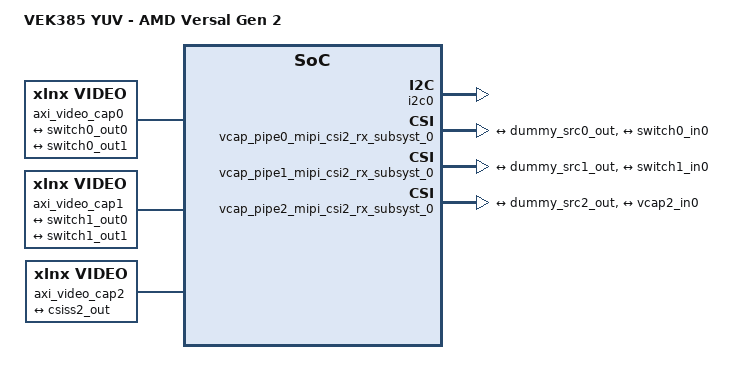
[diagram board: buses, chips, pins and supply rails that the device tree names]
// Copyright © Advanced Micro Devices, Inc., or its affiliates. All rights reserved.
// SPDX-License-Identifier: MIT
// Contributors: LT, KC
// Maintainer: LT
/ {
    model = "VEK385 YUV - AMD Versal Gen 2";
	compatible = "amd,versal2";

	chosen {
		stdout-path = "serial0:115200n8";
		bootargs = "earlycon=pl011,mmio32,0xf1930000 console=ttyAMA0,115200 cma=1000M";
		xen_bootargs = "console=dtuart dtuart=serial1 dom0_mem=2500M dom0_max_vcpus=1 bootscrub=0 vwfi=native";
		dom0_bootargs = "console=hvc0 earlycon=xen earlyprintk=xen clk_ignore_unused cma=1000M";
	};

	/delete-node/ vcap_vcap_pipe2_mipi_csi2_rx_subsyst_0;
	/delete-node/ vcap_display_v_proc_ss_scale;
	/delete-node/ vcap_portsdisplay_v_proc_ss_scale;
	/delete-node/ vcap_portdisplay_v_proc_ss_scale;
	/delete-node/ display_v_frmbuf_wr_0display_v_proc_ss_scale;
	/delete-node/ display_v_proc_ss_csc;
	/delete-node/ display_v_proc_ss_csc_csc;
	/delete-node/ ml_pre_process_pipe0_v_proc_ss_csc_csc;
	/delete-node/ ml_pre_process_pipe1_v_proc_ss_csc_csc;
	/delete-node/ scaler_portsdisplay_v_proc_ss_scale;
	
	
	reserved-memory {
		#address-cells = <0x2>;
		#size-cells = <0x2>;
		ranges;

		/delete-node/ cma_reserved@800000000;
		// Used to reserve memory for VCU
		shared_dma_reserved: shared_dma_mem_region {
			compatible = "shared-dma-pool";
			reg = <0x8 0x0 0x1 0x40000000>;
			//linux,cma-default;
			reusable;
		};

		//npu_dma_reserved: npup_dma_mem_region {
		//	compatible = "shared-dma-pool";
		//	size = <0x0 0x60000000>;
		//	alloc-ranges = <0x500 0x0 0x0 0x80000000>;
		//	no-map;
		//};

	};
	
};

&i2c0 {
	status = "okay";
};

&amba_pl {

	telluride_drm {
		compatible = "xlnx,aiarm";
	};

	ml_pre_process: ml-pre-process@b00c0000 {
		compatible = "xlnx,ml-pre-process";
		reg = <0xb00c0000 0x1000>;
		reg-names = "pipe0_fbwr";
		interrupts = <0x0c 0x02>,<0x0e 0x02>,<0x10 0x02>;
		interrupt-names = "pipe0_fbwr","pipe1_fbwr","display_fbwr";
		interrupt-parent = <&axi_intc_0>;
	};

	// Using a flexible dummy sensor driver for CSI-2 connection
	vid_capture_dummy_src_0: dummy_src_0@0 {
			compatible = "xlnx,dummy_src";
			clock-names = "ap_clk";
			clocks = <&misc_clk_0>;
			xlnx,max-height = <2160>;
			xlnx,max-width = <8192>;
			xlnx,ppc = <4>;
			xlnx,s-axi-ctrl-addr-width = <8>;
			xlnx,s-axi-ctrl-data-width = <32>;

			ports {
					#address-cells = <1>;
					#size-cells = <0>;
					port@0 {
							reg = <0>;

							xlnx,video-format = <0>;
							xlnx,video-width = <8>;

							dummy_src0_out: endpoint {
									remote-endpoint = <&csiss0_in>;
							};
					};
			};
	};

	vid_capture_dummy_src_1: dummy_src_1@0 {
			compatible = "xlnx,dummy_src";
			clock-names = "ap_clk";
			clocks = <&misc_clk_0>;
			xlnx,max-height = <2160>;
			xlnx,max-width = <8192>;
			xlnx,ppc = <4>;
			xlnx,s-axi-ctrl-addr-width = <8>; 
			xlnx,s-axi-ctrl-data-width = <32>;

			ports {
					#address-cells = <1>;
					#size-cells = <0>;
					port@0 {
							reg = <0>;

							xlnx,video-format = <0>;
							xlnx,video-width = <8>;

							dummy_src1_out: endpoint {
									remote-endpoint = <&csiss1_in>;
							};
					};
			};
	};

	vid_capture_dummy_src_2: dummy_src_2@0 {
			compatible = "xlnx,dummy_src";
			clock-names = "ap_clk";
			clocks = <&misc_clk_0>;
			xlnx,max-height = <2160>;
			xlnx,max-width = <8192>;
			xlnx,ppc = <4>;
			xlnx,s-axi-ctrl-addr-width = <8>; 
			xlnx,s-axi-ctrl-data-width = <32>;

			ports {
					#address-cells = <1>;
					#size-cells = <0>;
					port@0 {
							reg = <0>;

							xlnx,video-format = <0>;
							xlnx,video-width = <8>;

							dummy_src2_out: endpoint {
									remote-endpoint = <&csiss2_in>;
							};
					};
			};
	};

	// This is to enable the /dev/videoX V4L2 interfaces
	axi_video_cap0 {
		compatible = "xlnx,video";
		dmas = <&vcap_pipe0_v_frmbuf_wr_0 0>,<&vcap_pipe0_v_frmbuf_wr_1 0>;
		dma-names = "port0","port1";

		ports {
				#address-cells = <1>;
				#size-cells = <0>;
				port@0 {
						reg = <0>;
						direction = "input";
						vcap0_in0: endpoint {
								remote-endpoint = <&switch0_out0>;
						};
				};
				port@1 {
						reg = <1>;
						direction = "input";
						vcap0_in1: endpoint {
								remote-endpoint = <&switch0_out1>;
						};
				};
		};
	};

	axi_video_cap1 {
		compatible = "xlnx,video";
		dmas = <&vcap_pipe1_v_frmbuf_wr_0 0>,<&vcap_pipe1_v_frmbuf_wr_1 0>;
		dma-names = "port0","port1";

		ports {
				#address-cells = <1>;
				#size-cells = <0>;
				port@0 {
						reg = <0>;
						direction = "input";
						vcap1_in0: endpoint {
								remote-endpoint = <&switch1_out0>;
						};
				};
				port@1 {
						reg = <1>;
						direction = "input";
						vcap1_in1: endpoint {
								remote-endpoint = <&switch1_out1>;
						};
				};
		};
	};

	axi_video_cap2 {
		compatible = "xlnx,video";
		dmas = <&vcap_pipe2_v_frmbuf_wr_0 0>;
		dma-names = "port0";

		ports {
				#address-cells = <1>;
				#size-cells = <0>;
				port@0 {
						reg = <0>;
						direction = "input";
						vcap2_in0: endpoint {
								remote-endpoint = <&csiss2_out>;
						};
				};
		};
	};

};

// Set the CSI-2 RX to use YUV422 video format
&vcap_pipe0_mipi_csi2_rx_subsyst_0 {
	xlnx,csi-pxl-format = <0x1e>; //YUV
	video-reset-gpios = <&axi_gpio_rst 0x4 0x1>;
	ports {
		#address-cells = <1>;
		#size-cells = <0>;

		port@0 {
			reg = <0>;

			xlnx,video-format = <0>;
			xlnx,video-width = <8>;

			csiss0_in: endpoint {
				data-lanes = <1 2 3 4>;
				remote-endpoint = <&dummy_src0_out>;
			};
		};
		port@1 {
			reg = <1>;

			xlnx,video-format = <0>;
			xlnx,video-width = <8>;

			csiss0_out: endpoint {
				remote-endpoint = <&switch0_in0>;
			};
		};
	};

};


// SDT is not assign clock for some reason
&vcap_pipe0_axis_switch_0 {
	//compatible = "xlnx,dummy_switch-1.0"; // Dummy Option
	clock-names = "aclk";
    clocks = <&misc_clk_0>;
	ports {
	#address-cells = <1>;
	#size-cells = <0>;
		port@0 {
			reg = <0>;
			xlnx,video-format = <0>;
			xlnx,video-width = <8>;
			switch0_in0: endpoint {
				remote-endpoint = <&csiss0_out>;
			};
		};
		port@1 {
			reg = <1>;
			xlnx,video-format = <0>;
			xlnx,video-width = <8>;
			switch0_out0: endpoint {
				remote-endpoint = <&vcap0_in0>;
			};
		};
		port@2 {
			reg = <2>;
			xlnx,video-format = <0>;
			xlnx,video-width = <8>;
			switch0_out1: endpoint {
				remote-endpoint = <&vcap0_in1>;
			};
		};
	};

};

&vcap_pipe1_mipi_csi2_rx_subsyst_0 {
	xlnx,csi-pxl-format = <0x1e>; //YUV
	video-reset-gpios = <&axi_gpio_rst 0x7 0x1>;
	ports {
		#address-cells = <1>;
		#size-cells = <0>;

		port@0 {
			reg = <0>;

			xlnx,video-format = <0>;
			xlnx,video-width = <8>;

			csiss1_in: endpoint {
				data-lanes = <1 2 3 4>;
				remote-endpoint = <&dummy_src1_out>;
			};
		};
		port@1 {
			reg = <1>;

			xlnx,video-format = <0>;
			xlnx,video-width = <8>;

			csiss1_out: endpoint {
				remote-endpoint = <&switch1_in0>;
			};
		};
	};

};

&vcap_pipe1_axis_switch_0 {
	//compatible = "xlnx,dummy_switch-1.0"; // Dummy Option
	clock-names = "aclk";
    clocks = <&misc_clk_0>;
	ports {
	#address-cells = <1>;
	#size-cells = <0>;
		port@0 {
			reg = <0>;
			xlnx,video-format = <0>;
			xlnx,video-width = <8>;
			switch1_in0: endpoint {
				remote-endpoint = <&csiss1_out>;
			};
		};
		port@1 {
			reg = <1>;
			xlnx,video-format = <0>;
			xlnx,video-width = <8>;
			switch1_out0: endpoint {
				remote-endpoint = <&vcap1_in0>;
			};
		};
		port@2 {
			reg = <2>;
			xlnx,video-format = <0>;
			xlnx,video-width = <8>;
			switch1_out1: endpoint {
				remote-endpoint = <&vcap1_in1>;
			};
		};
	};

};

&vcap_pipe2_mipi_csi2_rx_subsyst_0 {
	xlnx,csi-pxl-format = <0x1e>; //YUV
	video-reset-gpios = <&axi_gpio_rst 0xA 0x1>;
	ports {
		#address-cells = <1>;
		#size-cells = <0>;

		port@0 {
			reg = <0>;

			xlnx,video-format = <0>;
			xlnx,video-width = <8>;

			csiss2_in: endpoint {
				data-lanes = <1 2 3 4>;
				remote-endpoint = <&dummy_src2_out>;
			};
		};
		port@1 {
			reg = <1>;

			xlnx,video-format = <0>;
			xlnx,video-width = <8>;

			csiss2_out: endpoint {
				remote-endpoint = <&vcap2_in0>;
			};
		};
	};

};

&ml_pre_process_pipe0_v_proc_ss_scale {
	status="disabled";
};

&ml_pre_process_pipe1_v_proc_ss_scale {
	status="disabled";
};

&ml_pre_process_pipe0_v_proc_ss_csc  {
	status="disabled";
};

&ml_pre_process_pipe1_v_proc_ss_csc  {
	status="disabled";
};

&ml_pre_process_pipe0_v_frmbuf_wr_0 {
	status="disabled";
};

&ml_pre_process_pipe1_v_frmbuf_wr_0 {
	status="disabled";
};

&display_v_frmbuf_wr_0 {
	status="disabled";
};

&ml_pre_process_pipe0_v_frmbuf_rd_0 {
	status="disabled";
};

&ml_pre_process_pipe1_v_frmbuf_rd_0 {
	status="disabled";
};

&display_v_frmbuf_rd_0 {
	status="disabled";
};

&ml_pre_process_pipe0_v_proc_ss_scale  {
	status="disabled";
};
 
&ml_pre_process_pipe1_v_proc_ss_scale  {
	status="disabled";
};

&display_v_proc_ss_scale  {
	status="disabled";
};

&v_pl_dispdisplay_v_proc_ss_csc  {
	status="disabled";
};

&v_pl_dispml_pre_process_pipe0_v_proc_ss_csc  {
	status="disabled";
};

&v_pl_dispml_pre_process_pipe1_v_proc_ss_csc  {
	status="disabled";
};

// Fix interrupts, something funky with SDT mapping
&encoder {
	interrupts = <0x8 0x2 0x4>;
};
&decoder {
	interrupts = <0x7 0x2 0x4>;
	memory-region = <&shared_dma_reserved>;
};
&aie_aperture_0 {
	interrupts = <0x00 0xce 0x04 0x00 0xcf 0x04 0x00 0xd0 0x04>;
};
